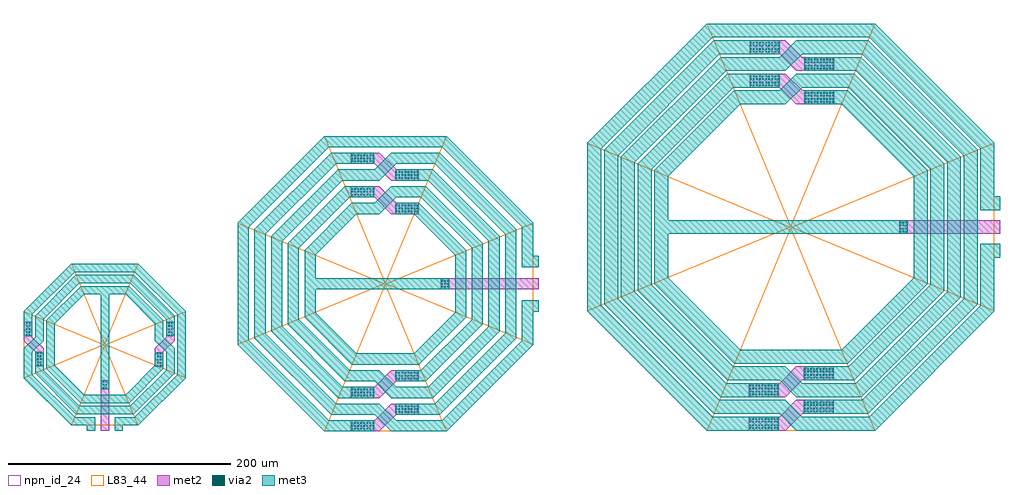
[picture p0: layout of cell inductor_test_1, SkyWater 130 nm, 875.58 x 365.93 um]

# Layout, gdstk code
from math import pi, radians
import gdstk
lib = gdstk.Library(unit=1e-6, precision=1e-09)
def R(c, l, rs):  # rectangles x0, y0, x1, y1
    for r in rs: c.add(gdstk.rectangle(r[:2], r[2:], *l))
def A(c, l, x, y, w, h, nx, ny, dx, dy):  # array of equal rectangles
    R(c, l, [(x+i*dx, y+j*dy, x+i*dx+w, y+j*dy+h) for i in range(nx) for j in range(ny)])
def P(c, l, *ps):  # polygons
    for p in ps: c.add(gdstk.Polygon(p, *l))
met2 = (69, 20)
via2 = (69, 44)
met3 = (70, 20)
npn_id_24 = (82, 24)
L83_44 = (83, 44)

sky130_fd_pr__rf_test_co = lib.new_cell('sky130_fd_pr__rf_test_coil3')
R(sky130_fd_pr__rf_test_co, met2, [(-37.615,-181.335,-10.905,-171.245), (11.56,-166.325,38.27,-156.235), (-37.615,-151.315,-10.905,-141.225), (11.56,-136.305,38.27,-126.215), (97.36,-5.045,104.68,5.045), (12.12,111.205,38.83,121.295), (-37.055,126.215,-10.345,136.305), (12.12,141.225,38.83,151.315), (-37.055,156.235,-10.345,166.325)])
P(sky130_fd_pr__rf_test_co, met2, [(38.375,-155.03),(4.895,-155.03),(-10.115,-170.04),(-37.72,-170.04),(-37.72,-182.54),(-4.935,-182.54),(10.075,-167.53),(38.375,-167.53)],
  [(38.375,-125.01),(4.895,-125.01),(-10.115,-140.02),(-37.72,-140.02),(-37.72,-152.52),(-4.935,-152.52),(10.075,-137.51),(38.375,-137.51)],
  [(38.935,140.02),(4.895,140.02),(-10.115,155.03),(-37.16,155.03),(-37.16,167.53),(-4.935,167.53),(10.075,152.52),(38.935,152.52)],
  [(38.935,110),(4.895,110),(-10.115,125.01),(-37.16,125.01),(-37.16,137.51),(-4.935,137.51),(10.075,122.5),(38.935,122.5)])
A(sky130_fd_pr__rf_test_co, via2, -34.56, -180.895, 1.2, 1.2, 3, 2, 2.77, 2.47)
A(sky130_fd_pr__rf_test_co, via2, -20.71, -180.895, 1.2, 1.2, 3, 2, 2.77, 2.47)
A(sky130_fd_pr__rf_test_co, via2, -34.56, -175.355, 1.2, 1.2, 3, 2, 2.77, 2.47)
A(sky130_fd_pr__rf_test_co, via2, -20.71, -175.355, 1.2, 1.2, 3, 2, 2.77, 2.47)
A(sky130_fd_pr__rf_test_co, via2, 14.625, -165.88, 1.2, 1.2, 3, 2, 2.77, 2.47)
A(sky130_fd_pr__rf_test_co, via2, 28.475, -165.88, 1.2, 1.2, 3, 2, 2.77, 2.47)
A(sky130_fd_pr__rf_test_co, via2, 14.625, -160.34, 1.2, 1.2, 3, 2, 2.77, 2.47)
A(sky130_fd_pr__rf_test_co, via2, 28.475, -160.34, 1.2, 1.2, 3, 2, 2.77, 2.47)
A(sky130_fd_pr__rf_test_co, via2, -34.56, -150.875, 1.2, 1.2, 3, 2, 2.77, 2.47)
A(sky130_fd_pr__rf_test_co, via2, -20.71, -150.875, 1.2, 1.2, 3, 2, 2.77, 2.47)
A(sky130_fd_pr__rf_test_co, via2, -34.56, -145.335, 1.2, 1.2, 3, 2, 2.77, 2.47)
A(sky130_fd_pr__rf_test_co, via2, -20.71, -145.335, 1.2, 1.2, 3, 2, 2.77, 2.47)
A(sky130_fd_pr__rf_test_co, via2, 14.625, -135.87, 1.2, 1.2, 3, 2, 2.77, 2.47)
A(sky130_fd_pr__rf_test_co, via2, 28.475, -135.87, 1.2, 1.2, 3, 2, 2.77, 2.47)
A(sky130_fd_pr__rf_test_co, via2, 14.625, -130.33, 1.2, 1.2, 3, 2, 2.77, 2.47)
A(sky130_fd_pr__rf_test_co, via2, 28.475, -130.33, 1.2, 1.2, 3, 2, 2.77, 2.47)
A(sky130_fd_pr__rf_test_co, via2, 15.18, 111.645, 1.2, 1.2, 3, 2, 2.77, 2.47)
A(sky130_fd_pr__rf_test_co, via2, 29.03, 111.645, 1.2, 1.2, 3, 2, 2.77, 2.47)
A(sky130_fd_pr__rf_test_co, via2, 15.18, 117.185, 1.2, 1.2, 3, 2, 2.77, 2.47)
A(sky130_fd_pr__rf_test_co, via2, 29.03, 117.185, 1.2, 1.2, 3, 2, 2.77, 2.47)
A(sky130_fd_pr__rf_test_co, via2, -33.995, 126.655, 1.2, 1.2, 3, 2, 2.77, 2.47)
A(sky130_fd_pr__rf_test_co, via2, -20.145, 126.655, 1.2, 1.2, 3, 2, 2.77, 2.47)
A(sky130_fd_pr__rf_test_co, via2, -33.995, 132.195, 1.2, 1.2, 3, 2, 2.77, 2.47)
A(sky130_fd_pr__rf_test_co, via2, -20.145, 132.195, 1.2, 1.2, 3, 2, 2.77, 2.47)
A(sky130_fd_pr__rf_test_co, via2, 15.18, 141.665, 1.2, 1.2, 3, 2, 2.77, 2.47)
A(sky130_fd_pr__rf_test_co, via2, 29.03, 141.665, 1.2, 1.2, 3, 2, 2.77, 2.47)
A(sky130_fd_pr__rf_test_co, via2, 15.18, 147.205, 1.2, 1.2, 3, 2, 2.77, 2.47)
A(sky130_fd_pr__rf_test_co, via2, 29.03, 147.205, 1.2, 1.2, 3, 2, 2.77, 2.47)
A(sky130_fd_pr__rf_test_co, via2, -33.995, 156.675, 1.2, 1.2, 3, 2, 2.77, 2.47)
A(sky130_fd_pr__rf_test_co, via2, -20.145, 156.675, 1.2, 1.2, 3, 2, 2.77, 2.47)
A(sky130_fd_pr__rf_test_co, via2, -33.995, 162.215, 1.2, 1.2, 3, 2, 2.77, 2.47)
A(sky130_fd_pr__rf_test_co, via2, -20.145, 162.215, 1.2, 1.2, 3, 2, 2.77, 2.47)
R(sky130_fd_pr__rf_test_co, via2, [(-37.18,-180.895,-35.98,-179.695), (-26.4,-180.895,-25.2,-179.695), (-23.33,-180.895,-22.13,-179.695), (-12.55,-180.895,-11.35,-179.695), (-37.18,-178.425,-35.98,-177.225), (-26.4,-178.425,-25.2,-177.225), (-23.33,-178.425,-22.13,-177.225), (-12.55,-178.425,-11.35,-177.225), (-37.18,-175.355,-35.98,-174.155), (-26.4,-175.355,-25.2,-174.155), (-23.33,-175.355,-22.13,-174.155), (-12.55,-175.355,-11.35,-174.155), (-37.18,-172.885,-35.98,-171.685), (-26.4,-172.885,-25.2,-171.685), (-23.33,-172.885,-22.13,-171.685), (-12.55,-172.885,-11.35,-171.685), (12.005,-165.88,13.205,-164.68), (22.785,-165.88,23.985,-164.68), (25.855,-165.88,27.055,-164.68), (36.635,-165.88,37.835,-164.68), (12.005,-163.41,13.205,-162.21), (22.785,-163.41,23.985,-162.21), (25.855,-163.41,27.055,-162.21), (36.635,-163.41,37.835,-162.21), (12.005,-160.34,13.205,-159.14), (22.785,-160.34,23.985,-159.14), (25.855,-160.34,27.055,-159.14), (36.635,-160.34,37.835,-159.14), (12.005,-157.87,13.205,-156.67), (22.785,-157.87,23.985,-156.67), (25.855,-157.87,27.055,-156.67), (36.635,-157.87,37.835,-156.67), (-37.18,-150.875,-35.98,-149.675), (-26.4,-150.875,-25.2,-149.675), (-23.33,-150.875,-22.13,-149.675), (-12.55,-150.875,-11.35,-149.675), (-37.18,-148.405,-35.98,-147.205), (-26.4,-148.405,-25.2,-147.205), (-23.33,-148.405,-22.13,-147.205), (-12.55,-148.405,-11.35,-147.205), (-37.18,-145.335,-35.98,-144.135), (-26.4,-145.335,-25.2,-144.135), (-23.33,-145.335,-22.13,-144.135), (-12.55,-145.335,-11.35,-144.135), (-37.18,-142.865,-35.98,-141.665), (-26.4,-142.865,-25.2,-141.665), (-23.33,-142.865,-22.13,-141.665), (-12.55,-142.865,-11.35,-141.665), (12.005,-135.87,13.205,-134.67), (22.785,-135.87,23.985,-134.67), (25.855,-135.87,27.055,-134.67), (36.635,-135.87,37.835,-134.67), (12.005,-133.4,13.205,-132.2), (22.785,-133.4,23.985,-132.2), (25.855,-133.4,27.055,-132.2), (36.635,-133.4,37.835,-132.2), (12.005,-130.33,13.205,-129.13), (22.785,-130.33,23.985,-129.13), (25.855,-130.33,27.055,-129.13), (36.635,-130.33,37.835,-129.13), (12.005,-127.86,13.205,-126.66), (22.785,-127.86,23.985,-126.66), (25.855,-127.86,27.055,-126.66), (36.635,-127.86,37.835,-126.66), (97.8,-4.605,99,-3.405), (100.42,-4.605,101.62,-3.405), (103.19,-4.605,104.39,-3.405), (97.8,-2.135,99,-0.935), (100.42,-2.135,101.62,-0.935), (103.19,-2.135,104.39,-0.935), (97.8,0.935,99,2.135), (100.42,0.935,101.62,2.135), (103.19,0.935,104.39,2.135), (97.8,3.405,99,4.605), (100.42,3.405,101.62,4.605), (103.19,3.405,104.39,4.605), (12.56,111.645,13.76,112.845), (23.34,111.645,24.54,112.845), (26.41,111.645,27.61,112.845), (37.19,111.645,38.39,112.845), (12.56,114.115,13.76,115.315), (23.34,114.115,24.54,115.315), (26.41,114.115,27.61,115.315), (37.19,114.115,38.39,115.315), (12.56,117.185,13.76,118.385), (23.34,117.185,24.54,118.385), (26.41,117.185,27.61,118.385), (37.19,117.185,38.39,118.385), (12.56,119.655,13.76,120.855), (23.34,119.655,24.54,120.855), (26.41,119.655,27.61,120.855), (37.19,119.655,38.39,120.855), (-36.615,126.655,-35.415,127.855), (-25.835,126.655,-24.635,127.855), (-22.765,126.655,-21.565,127.855), (-11.985,126.655,-10.785,127.855), (-36.615,129.125,-35.415,130.325), (-25.835,129.125,-24.635,130.325), (-22.765,129.125,-21.565,130.325), (-11.985,129.125,-10.785,130.325), (-36.615,132.195,-35.415,133.395), (-25.835,132.195,-24.635,133.395), (-22.765,132.195,-21.565,133.395), (-11.985,132.195,-10.785,133.395), (-36.615,134.665,-35.415,135.865), (-25.835,134.665,-24.635,135.865), (-22.765,134.665,-21.565,135.865), (-11.985,134.665,-10.785,135.865), (12.56,141.665,13.76,142.865), (23.34,141.665,24.54,142.865), (26.41,141.665,27.61,142.865), (37.19,141.665,38.39,142.865), (12.56,144.135,13.76,145.335), (23.34,144.135,24.54,145.335), (26.41,144.135,27.61,145.335), (37.19,144.135,38.39,145.335), (12.56,147.205,13.76,148.405), (23.34,147.205,24.54,148.405), (26.41,147.205,27.61,148.405), (37.19,147.205,38.39,148.405), (12.56,149.675,13.76,150.875), (23.34,149.675,24.54,150.875), (26.41,149.675,27.61,150.875), (37.19,149.675,38.39,150.875), (-36.615,156.675,-35.415,157.875), (-25.835,156.675,-24.635,157.875), (-22.765,156.675,-21.565,157.875), (-11.985,156.675,-10.785,157.875), (-36.615,159.145,-35.415,160.345), (-25.835,159.145,-24.635,160.345), (-22.765,159.145,-21.565,160.345), (-11.985,159.145,-10.785,160.345), (-36.615,162.215,-35.415,163.415), (-25.835,162.215,-24.635,163.415), (-22.765,162.215,-21.565,163.415), (-11.985,162.215,-10.785,163.415), (-36.615,164.685,-35.415,165.885), (-25.835,164.685,-24.635,165.885), (-22.765,164.685,-21.565,165.885), (-11.985,164.685,-10.785,165.885)])
R(sky130_fd_pr__rf_test_co, met3, [(-37.72,-181.44,-10.8,-171.14), (11.455,-166.43,38.375,-156.13), (-37.72,-151.42,-10.8,-141.12), (11.455,-136.41,38.375,-126.11), (97.255,-5.15,104.785,5.15), (12.015,111.1,38.935,121.4), (-37.16,126.11,-10.24,136.41), (12.015,141.12,38.935,151.42), (-37.16,156.13,-10.24,166.43)])
P(sky130_fd_pr__rf_test_co, met3, [(182.54,75.62),(75.62,182.54),(66.78,173.7),(173.7,66.78)],
  [(75.62,-182.54),(182.54,-75.62),(173.7,-66.78),(66.78,-173.7)],
  [(-182.54,-75.62),(-75.62,-182.54),(-66.78,-173.7),(-173.7,-66.78)],
  [(-75.62,182.54),(-182.54,75.62),(-173.7,66.78),(-66.78,173.7)],
  [(167.53,69.405),(69.405,167.53),(60.565,158.69),(158.69,60.565)],
  [(69.405,-167.53),(167.53,-69.405),(158.69,-60.565),(60.565,-158.69)],
  [(-167.53,-69.405),(-69.405,-167.53),(-60.565,-158.69),(-158.69,-60.565)],
  [(-69.405,167.53),(-167.53,69.405),(-158.69,60.565),(-60.565,158.69)],
  [(75.62,-182.54),(4.935,-182.54),(-10.075,-167.53),(-69.405,-167.53),(-69.405,-155.03),(-4.895,-155.03),(10.115,-170.04),(75.62,-170.04)],
  [(63.185,-152.52),(4.935,-152.52),(-10.075,-137.51),(-56.97,-137.51),(-56.97,-125.01),(-4.895,-125.01),(10.115,-140.02),(63.185,-140.02)],
  [(152.52,63.185),(63.185,152.52),(54.345,143.68),(143.68,54.345)],
  [(63.185,-152.52),(152.52,-63.185),(143.68,-54.345),(54.345,-143.68)],
  [(-152.52,-63.185),(-63.185,-152.52),(-54.345,-143.68),(-143.68,-54.345)],
  [(-63.185,152.52),(-152.52,63.185),(-143.68,54.345),(-54.345,143.68)],
  [(137.51,56.97),(56.97,137.51),(48.13,128.67),(128.67,48.13)],
  [(56.97,-137.51),(137.51,-56.97),(128.67,-48.13),(48.13,-128.67)],
  [(-137.51,-56.97),(-56.97,-137.51),(-48.13,-128.67),(-128.67,-48.13)],
  [(12.015,151.42),(13.115,152.52),(63.185,152.52),(63.185,140.02),(13.115,140.02),(12.015,141.12)],
  [(-56.97,137.51),(-137.51,56.97),(-128.67,48.13),(-48.13,128.67)],
  [(11.455,-136.41),(12.555,-137.51),(56.97,-137.51),(56.97,-125.01),(12.555,-125.01),(11.455,-126.11)],
  [(122.5,50.75),(50.75,122.5),(41.91,113.66),(113.66,41.91)],
  [(50.75,-122.5),(122.5,-50.75),(113.66,-41.91),(41.91,-113.66)],
  [(-122.5,-50.75),(-50.75,-122.5),(-41.91,-113.66),(-113.66,-41.91)],
  [(-50.75,122.5),(-122.5,50.75),(-113.66,41.91),(-41.91,113.66)],
  [(69.405,167.53),(4.935,167.53),(-10.075,152.52),(-63.185,152.52),(-63.185,140.02),(-4.895,140.02),(10.115,155.03),(69.405,155.03)],
  [(56.97,137.51),(4.935,137.51),(-10.075,122.5),(-50.75,122.5),(-50.75,110),(-4.895,110),(10.115,125.01),(56.97,125.01)],
  [(-10.8,-181.44),(-11.9,-182.54),(-75.62,-182.54),(-75.62,-170.04),(-11.9,-170.04),(-10.8,-171.14)],
  [(11.455,-166.43),(12.555,-167.53),(69.405,-167.53),(69.405,-155.03),(12.555,-155.03),(11.455,-156.13)],
  [(12.015,121.4),(13.115,122.5),(50.75,122.5),(50.75,110),(13.115,110),(12.015,111.1)],
  [(-10.24,136.41),(-11.34,137.51),(-56.97,137.51),(-56.97,125.01),(-11.34,125.01),(-10.24,126.11)],
  [(-10.8,-151.42),(-11.9,-152.52),(-63.185,-152.52),(-63.185,-140.02),(-11.9,-140.02),(-10.8,-141.12)],
  [(-10.24,166.43),(-11.34,167.53),(-69.405,167.53),(-69.405,155.03),(-11.34,155.03),(-10.24,156.13)])
P(sky130_fd_pr__rf_test_co, npn_id_24, [(-75.62,182.54),(75.62,182.54),(182.54,75.62),(182.54,-75.62),(75.62,-182.54),(-75.62,-182.54),(-182.54,-75.62),(-182.54,75.62)])
P(sky130_fd_pr__rf_test_co, L83_44, [(75.624,182.54),(-75.624,182.54),(0,0)],
  [(182.54,-75.624),(182.54,75.624),(0,0)],
  [(-75.624,-182.54),(75.624,-182.54),(0,0)],
  [(-182.54,75.624),(-182.54,-75.624),(0,0)])
sky130_fd_pr__rf_test_co.add(gdstk.FlexPath([(187.54,0),(97.04,0)], 12.5, ends="flush", simple_path=True, layer=69, datatype=20))  # met2
sky130_fd_pr__rf_test_co.add(gdstk.FlexPath([(75.62,176.29),(0,176.29)], 12.5, ends="flush", simple_path=True, layer=70, datatype=20))  # met3
sky130_fd_pr__rf_test_co.add(gdstk.FlexPath([(176.29,15),(176.29,75.62)], 12.5, ends="flush", simple_path=True, layer=70, datatype=20))  # met3
sky130_fd_pr__rf_test_co.add(gdstk.FlexPath([(-176.29,75.62),(-176.29,-75.62)], 12.5, ends="flush", simple_path=True, layer=70, datatype=20))  # met3
sky130_fd_pr__rf_test_co.add(gdstk.FlexPath([(0,176.29),(-75.62,176.29)], 12.5, ends="flush", simple_path=True, layer=70, datatype=20))  # met3
sky130_fd_pr__rf_test_co.add(gdstk.FlexPath([(161.28,-69.405),(161.28,69.405)], 12.5, ends="flush", simple_path=True, layer=70, datatype=20))  # met3
sky130_fd_pr__rf_test_co.add(gdstk.FlexPath([(-161.28,69.405),(-161.28,-69.405)], 12.5, ends="flush", simple_path=True, layer=70, datatype=20))  # met3
sky130_fd_pr__rf_test_co.add(gdstk.FlexPath([(146.27,-63.185),(146.27,63.185)], 12.5, ends="flush", simple_path=True, layer=70, datatype=20))  # met3
sky130_fd_pr__rf_test_co.add(gdstk.FlexPath([(-146.27,63.185),(-146.27,-63.185)], 12.5, ends="flush", simple_path=True, layer=70, datatype=20))  # met3
sky130_fd_pr__rf_test_co.add(gdstk.FlexPath([(131.26,-56.97),(131.26,56.97)], 12.5, ends="flush", simple_path=True, layer=70, datatype=20))  # met3
sky130_fd_pr__rf_test_co.add(gdstk.FlexPath([(-131.26,56.97),(-131.26,-56.97)], 12.5, ends="flush", simple_path=True, layer=70, datatype=20))  # met3
sky130_fd_pr__rf_test_co.add(gdstk.FlexPath([(116.25,-50.75),(116.25,50.75)], 12.5, ends="flush", simple_path=True, layer=70, datatype=20))  # met3
sky130_fd_pr__rf_test_co.add(gdstk.FlexPath([(-50.75,-116.25),(50.75,-116.25)], 12.5, ends="flush", simple_path=True, layer=70, datatype=20))  # met3
sky130_fd_pr__rf_test_co.add(gdstk.FlexPath([(-116.25,50.75),(-116.25,-50.75)], 12.5, ends="flush", simple_path=True, layer=70, datatype=20))  # met3
sky130_fd_pr__rf_test_co.add(gdstk.FlexPath([(-122.5,0),(105,0)], 12.5, ends="flush", simple_path=True, layer=70, datatype=20))  # met3
sky130_fd_pr__rf_test_co.add(gdstk.FlexPath([(170.04,21.25),(187.54,21.25)], 12.5, ends="flush", simple_path=True, layer=70, datatype=20))  # met3
sky130_fd_pr__rf_test_co.add(gdstk.FlexPath([(170.04,-21.25),(187.54,-21.25)], 12.5, ends="flush", simple_path=True, layer=70, datatype=20))  # met3
sky130_fd_pr__rf_test_co.add(gdstk.FlexPath([(176.29,-75.62),(176.29,-15)], 12.5, ends="flush", simple_path=True, layer=70, datatype=20))  # met3

c_sky130_fd_pr__rf_test_co = lib.new_cell('sky130_fd_pr__rf_test_coil2')
R(c_sky130_fd_pr__rf_test_co, met2, [(-31.05,-131.16,-9.88,-123.84), (8.765,-116.16,29.935,-108.84), (-31.05,-101.16,-9.88,-93.84), (8.765,-86.16,29.935,-78.84), (49.86,-3.66,57.18,3.66), (8.765,63.84,29.935,71.16), (-31.05,78.84,-9.88,86.16), (8.765,93.84,29.935,101.16), (-31.05,108.84,-9.88,116.16)])
P(c_sky130_fd_pr__rf_test_co, met2, [(30.04,-77.5),(5.425,-77.5),(-9.575,-92.5),(-31.155,-92.5),(-31.155,-102.5),(-5.425,-102.5),(9.575,-87.5),(30.04,-87.5)],
  [(30.04,-107.5),(5.425,-107.5),(-9.575,-122.5),(-31.155,-122.5),(-31.155,-132.5),(-5.425,-132.5),(9.575,-117.5),(30.04,-117.5)],
  [(30.04,92.5),(5.425,92.5),(-9.575,107.5),(-31.155,107.5),(-31.155,117.5),(-5.425,117.5),(9.575,102.5),(30.04,102.5)],
  [(30.04,62.5),(5.425,62.5),(-9.575,77.5),(-31.155,77.5),(-31.155,87.5),(-5.425,87.5),(9.575,72.5),(30.04,72.5)])
A(c_sky130_fd_pr__rf_test_co, via2, -30.61, -130.72, 1.2, 1.2, 1, 3, 0, 2.62)
A(c_sky130_fd_pr__rf_test_co, via2, -27.99, -130.72, 1.2, 1.2, 6, 3, 2.77, 2.62)
A(c_sky130_fd_pr__rf_test_co, via2, -11.52, -130.72, 1.2, 1.2, 1, 3, 0, 2.62)
A(c_sky130_fd_pr__rf_test_co, via2, 9.205, -115.72, 1.2, 1.2, 1, 3, 0, 2.62)
A(c_sky130_fd_pr__rf_test_co, via2, 11.825, -115.72, 1.2, 1.2, 6, 3, 2.77, 2.62)
A(c_sky130_fd_pr__rf_test_co, via2, 28.295, -115.72, 1.2, 1.2, 1, 3, 0, 2.62)
A(c_sky130_fd_pr__rf_test_co, via2, -30.61, -100.72, 1.2, 1.2, 1, 3, 0, 2.62)
A(c_sky130_fd_pr__rf_test_co, via2, -27.99, -100.72, 1.2, 1.2, 6, 3, 2.77, 2.62)
A(c_sky130_fd_pr__rf_test_co, via2, -11.52, -100.72, 1.2, 1.2, 1, 3, 0, 2.62)
A(c_sky130_fd_pr__rf_test_co, via2, 9.2, -85.725, 1.2, 1.2, 1, 3, 0, 2.62)
A(c_sky130_fd_pr__rf_test_co, via2, 11.82, -85.725, 1.2, 1.2, 6, 3, 2.77, 2.62)
A(c_sky130_fd_pr__rf_test_co, via2, 28.29, -85.725, 1.2, 1.2, 1, 3, 0, 2.62)
A(c_sky130_fd_pr__rf_test_co, via2, 50.3, -3.22, 1.2, 1.2, 1, 3, 0, 2.62)
A(c_sky130_fd_pr__rf_test_co, via2, 52.92, -3.22, 1.2, 1.2, 1, 3, 0, 2.62)
A(c_sky130_fd_pr__rf_test_co, via2, 55.69, -3.22, 1.2, 1.2, 1, 3, 0, 2.62)
A(c_sky130_fd_pr__rf_test_co, via2, 9.205, 64.285, 1.2, 1.2, 1, 3, 0, 2.62)
A(c_sky130_fd_pr__rf_test_co, via2, 11.825, 64.285, 1.2, 1.2, 6, 3, 2.77, 2.62)
A(c_sky130_fd_pr__rf_test_co, via2, 28.295, 64.285, 1.2, 1.2, 1, 3, 0, 2.62)
A(c_sky130_fd_pr__rf_test_co, via2, -30.615, 79.285, 1.2, 1.2, 1, 3, 0, 2.62)
A(c_sky130_fd_pr__rf_test_co, via2, -27.995, 79.285, 1.2, 1.2, 6, 3, 2.77, 2.62)
A(c_sky130_fd_pr__rf_test_co, via2, -11.525, 79.285, 1.2, 1.2, 1, 3, 0, 2.62)
A(c_sky130_fd_pr__rf_test_co, via2, 9.205, 94.275, 1.2, 1.2, 1, 3, 0, 2.62)
A(c_sky130_fd_pr__rf_test_co, via2, 11.825, 94.275, 1.2, 1.2, 6, 3, 2.77, 2.62)
A(c_sky130_fd_pr__rf_test_co, via2, 28.295, 94.275, 1.2, 1.2, 1, 3, 0, 2.62)
A(c_sky130_fd_pr__rf_test_co, via2, -30.61, 109.28, 1.2, 1.2, 1, 3, 0, 2.62)
A(c_sky130_fd_pr__rf_test_co, via2, -27.99, 109.28, 1.2, 1.2, 6, 3, 2.77, 2.62)
A(c_sky130_fd_pr__rf_test_co, via2, -11.52, 109.28, 1.2, 1.2, 1, 3, 0, 2.62)
R(c_sky130_fd_pr__rf_test_co, met3, [(-31.155,-131.265,-9.775,-123.735), (8.66,-116.265,30.04,-108.735), (-31.155,-101.265,-9.775,-93.735), (8.66,-86.265,30.04,-78.735), (49.755,-3.765,57.285,3.765), (8.66,63.735,30.04,71.265), (-31.155,78.735,-9.775,86.265), (8.66,93.735,30.04,101.265), (-31.155,108.735,-9.775,116.265)])
P(c_sky130_fd_pr__rf_test_co, met3, [(132.5,54.89),(54.89,132.5),(47.82,125.43),(125.43,47.82)],
  [(54.89,-132.5),(132.5,-54.89),(125.43,-47.82),(47.82,-125.43)],
  [(-132.5,-54.89),(-54.89,-132.5),(-47.82,-125.43),(-125.43,-47.82)],
  [(-54.89,132.5),(-132.5,54.89),(-125.43,47.82),(-47.82,125.43)],
  [(117.5,48.68),(48.68,117.5),(41.61,110.43),(110.43,41.61)],
  [(48.68,-117.5),(117.5,-48.68),(110.43,-41.61),(41.61,-110.43)],
  [(-117.5,-48.68),(-48.68,-117.5),(-41.61,-110.43),(-110.43,-41.61)],
  [(8.66,-86.265),(9.895,-87.5),(36.255,-87.5),(36.255,-77.5),(9.895,-77.5),(8.66,-78.735)],
  [(-48.68,117.5),(-117.5,48.68),(-110.43,41.61),(-41.61,110.43)],
  [(42.465,-102.5),(5.425,-102.5),(-9.575,-87.5),(-36.255,-87.5),(-36.255,-77.5),(-5.425,-77.5),(9.575,-92.5),(42.465,-92.5)],
  [(54.89,-132.5),(5.425,-132.5),(-9.575,-117.5),(-48.68,-117.5),(-48.68,-107.5),(-5.425,-107.5),(9.575,-122.5),(54.89,-122.5)],
  [(102.5,42.465),(42.465,102.5),(35.395,95.43),(95.43,35.395)],
  [(42.465,-102.5),(102.5,-42.465),(95.43,-35.395),(35.395,-95.43)],
  [(-102.5,-42.465),(-42.465,-102.5),(-35.395,-95.43),(-95.43,-35.395)],
  [(-9.775,116.265),(-11.01,117.5),(-48.68,117.5),(-48.68,107.5),(-11.01,107.5),(-9.775,108.735)],
  [(-42.465,102.5),(-102.5,42.465),(-95.43,35.395),(-35.395,95.43)],
  [(48.68,117.5),(5.425,117.5),(-9.575,102.5),(-42.465,102.5),(-42.465,92.5),(-5.425,92.5),(9.575,107.5),(48.68,107.5)],
  [(87.5,36.255),(36.255,87.5),(29.185,80.43),(80.43,29.185)],
  [(36.255,-87.5),(87.5,-36.255),(80.43,-29.185),(29.185,-80.43)],
  [(-87.5,-36.255),(-36.255,-87.5),(-29.185,-80.43),(-80.43,-29.185)],
  [(-9.775,86.265),(-11.01,87.5),(-36.255,87.5),(-36.255,77.5),(-11.01,77.5),(-9.775,78.735)],
  [(-36.255,87.5),(-87.5,36.255),(-80.43,29.185),(-29.185,80.43)],
  [(8.66,71.265),(9.895,72.5),(30.04,72.5),(30.04,62.5),(9.895,62.5),(8.66,63.735)],
  [(72.5,30.04),(30.04,72.5),(22.97,65.43),(65.43,22.97)],
  [(30.04,-72.5),(72.5,-30.04),(65.43,-22.97),(22.97,-65.43)],
  [(-72.5,-30.04),(-30.04,-72.5),(-22.97,-65.43),(-65.43,-22.97)],
  [(-30.04,72.5),(-72.5,30.04),(-65.43,22.97),(-22.97,65.43)],
  [(36.255,87.5),(5.425,87.5),(-9.575,72.5),(-30.04,72.5),(-30.04,62.5),(-5.425,62.5),(9.575,77.5),(36.255,77.5)],
  [(8.66,101.265),(9.895,102.5),(42.465,102.5),(42.465,92.5),(9.895,92.5),(8.66,93.735)],
  [(-9.775,-101.265),(-11.01,-102.5),(-42.465,-102.5),(-42.465,-92.5),(-11.01,-92.5),(-9.775,-93.735)],
  [(8.66,-116.265),(9.895,-117.5),(48.68,-117.5),(48.68,-107.5),(9.895,-107.5),(8.66,-108.735)],
  [(-9.775,-131.265),(-11.01,-132.5),(-54.89,-132.5),(-54.89,-122.5),(-11.01,-122.5),(-9.775,-123.735)])
P(c_sky130_fd_pr__rf_test_co, npn_id_24, [(-54.89,132.5),(54.89,132.5),(132.5,54.89),(132.5,-54.89),(54.89,-132.5),(-54.89,-132.5),(-132.5,-54.89),(-132.5,54.89)])
P(c_sky130_fd_pr__rf_test_co, L83_44, [(54.893,132.5),(-54.893,132.5),(0,0)],
  [(132.5,-54.893),(132.5,54.893),(0,0)],
  [(-54.893,-132.5),(54.893,-132.5),(0,0)],
  [(-132.5,54.893),(-132.5,-54.893),(0,0)])
c_sky130_fd_pr__rf_test_co.add(gdstk.FlexPath([(137.5,0),(49.54,0)], 10, ends="flush", simple_path=True, layer=69, datatype=20))  # met2
c_sky130_fd_pr__rf_test_co.add(gdstk.FlexPath([(54.89,127.5),(0,127.5)], 10, ends="flush", simple_path=True, layer=70, datatype=20))  # met3
c_sky130_fd_pr__rf_test_co.add(gdstk.FlexPath([(-127.5,54.89),(-127.5,-54.89)], 10, ends="flush", simple_path=True, layer=70, datatype=20))  # met3
c_sky130_fd_pr__rf_test_co.add(gdstk.FlexPath([(0,127.5),(-54.89,127.5)], 10, ends="flush", simple_path=True, layer=70, datatype=20))  # met3
c_sky130_fd_pr__rf_test_co.add(gdstk.FlexPath([(112.5,-48.68),(112.5,48.68)], 10, ends="flush", simple_path=True, layer=70, datatype=20))  # met3
c_sky130_fd_pr__rf_test_co.add(gdstk.FlexPath([(-112.5,48.68),(-112.5,-48.68)], 10, ends="flush", simple_path=True, layer=70, datatype=20))  # met3
c_sky130_fd_pr__rf_test_co.add(gdstk.FlexPath([(97.5,-42.465),(97.5,42.465)], 10, ends="flush", simple_path=True, layer=70, datatype=20))  # met3
c_sky130_fd_pr__rf_test_co.add(gdstk.FlexPath([(-97.5,42.465),(-97.5,-42.465)], 10, ends="flush", simple_path=True, layer=70, datatype=20))  # met3
c_sky130_fd_pr__rf_test_co.add(gdstk.FlexPath([(82.5,-36.255),(82.5,36.255)], 10, ends="flush", simple_path=True, layer=70, datatype=20))  # met3
c_sky130_fd_pr__rf_test_co.add(gdstk.FlexPath([(-82.5,36.255),(-82.5,-36.255)], 10, ends="flush", simple_path=True, layer=70, datatype=20))  # met3
c_sky130_fd_pr__rf_test_co.add(gdstk.FlexPath([(67.5,-30.04),(67.5,30.04)], 10, ends="flush", simple_path=True, layer=70, datatype=20))  # met3
c_sky130_fd_pr__rf_test_co.add(gdstk.FlexPath([(-30.04,-67.5),(30.04,-67.5)], 10, ends="flush", simple_path=True, layer=70, datatype=20))  # met3
c_sky130_fd_pr__rf_test_co.add(gdstk.FlexPath([(-67.5,30.04),(-67.5,-30.04)], 10, ends="flush", simple_path=True, layer=70, datatype=20))  # met3
c_sky130_fd_pr__rf_test_co.add(gdstk.FlexPath([(-72.5,0),(57.5,0)], 10, ends="flush", simple_path=True, layer=70, datatype=20))  # met3
c_sky130_fd_pr__rf_test_co.add(gdstk.FlexPath([(122.5,20),(137.5,20)], 10, ends="flush", simple_path=True, layer=70, datatype=20))  # met3
c_sky130_fd_pr__rf_test_co.add(gdstk.FlexPath([(122.5,-20),(137.5,-20)], 10, ends="flush", simple_path=True, layer=70, datatype=20))  # met3
c_sky130_fd_pr__rf_test_co.add(gdstk.FlexPath([(127.5,15),(127.5,54.89)], 10, ends="flush", simple_path=True, layer=70, datatype=20))  # met3
c_sky130_fd_pr__rf_test_co.add(gdstk.FlexPath([(127.5,-54.89),(127.5,-15)], 10, ends="flush", simple_path=True, layer=70, datatype=20))  # met3

c_sky130_fd_pr__rf_test_co_ = lib.new_cell('sky130_fd_pr__rf_test_coil1')
R(c_sky130_fd_pr__rf_test_co_, met2, [(-20.52,-71.035,-7.66,-66.485), (6.65,-61.035,19.51,-56.485), (32.36,-2.275,39.68,2.275), (7.155,46.47,20.015,51.02), (-20.23,56.485,-7.37,61.035)])
P(c_sky130_fd_pr__rf_test_co_, met2, [(19.625,-55.01),(3.455,-55.01),(-6.555,-65.02),(-20.615,-65.02),(-20.615,-72.52),(-3.445,-72.52),(6.565,-62.51),(19.625,-62.51)],
  [(-7.325,61.14),(-8.695,62.51),(-20.395,62.51),(-20.395,55.01),(-8.695,55.01),(-7.325,56.38)],
  [(20.12,45),(3.455,45),(-6.555,55.01),(-20.395,55.01),(-20.395,62.51),(-3.445,62.51),(6.565,52.5),(20.12,52.5)])
A(c_sky130_fd_pr__rf_test_co_, via2, -17.46, -70.595, 1.2, 1.2, 3, 2, 2.77, 2.47)
A(c_sky130_fd_pr__rf_test_co_, via2, 9.71, -60.595, 1.2, 1.2, 3, 2, 2.77, 2.47)
A(c_sky130_fd_pr__rf_test_co_, via2, 10.215, 46.91, 1.2, 1.2, 3, 2, 2.77, 2.47)
A(c_sky130_fd_pr__rf_test_co_, via2, -17.17, 56.925, 1.2, 1.2, 3, 2, 2.77, 2.47)
R(c_sky130_fd_pr__rf_test_co_, via2, [(-20.08,-70.595,-18.88,-69.395), (-9.3,-70.595,-8.1,-69.395), (-20.08,-68.125,-18.88,-66.925), (-9.3,-68.125,-8.1,-66.925), (7.09,-60.595,8.29,-59.395), (17.87,-60.595,19.07,-59.395), (7.09,-58.125,8.29,-56.925), (17.87,-58.125,19.07,-56.925), (32.8,-1.835,34,-0.635), (35.42,-1.835,36.62,-0.635), (38.19,-1.835,39.39,-0.635), (32.8,0.635,34,1.835), (35.42,0.635,36.62,1.835), (38.19,0.635,39.39,1.835), (7.595,46.91,8.795,48.11), (18.375,46.91,19.575,48.11), (7.595,49.38,8.795,50.58), (18.375,49.38,19.575,50.58), (-19.79,56.925,-18.59,58.125), (-9.01,56.925,-7.81,58.125), (-19.79,59.395,-18.59,60.595), (-9.01,59.395,-7.81,60.595)])
R(c_sky130_fd_pr__rf_test_co_, met3, [(-20.615,-71.15,-7.545,-66.39), (6.555,-61.14,19.625,-56.38), (32.255,-2.38,39.785,2.38), (7.05,46.37,20.12,51.13), (-20.335,56.38,-7.265,61.14)])
P(c_sky130_fd_pr__rf_test_co_, met3, [(72.52,30.045),(30.045,72.52),(24.74,67.215),(67.215,24.74)],
  [(30.045,-72.52),(3.445,-72.52),(-6.565,-62.51),(-25.9,-62.51),(-25.9,-55.02),(-3.445,-55.02),(6.555,-65.02),(30.045,-65.02)],
  [(30.045,-72.52),(72.52,-30.045),(67.215,-24.74),(24.74,-67.215)],
  [(-72.52,-30.045),(-30.045,-72.52),(-24.74,-67.215),(-67.215,-24.74)],
  [(-30.045,72.52),(-72.52,30.045),(-67.215,24.74),(-24.74,67.215)],
  [(25.9,62.51),(3.445,62.51),(-6.565,52.5),(-21.755,52.5),(-21.755,45),(-3.455,45),(6.555,55.01),(25.9,55.01)],
  [(62.51,25.9),(25.9,62.51),(20.595,57.205),(57.205,20.595)],
  [(25.9,-62.51),(62.51,-25.9),(57.205,-20.595),(20.595,-57.205)],
  [(-62.51,-25.9),(-25.9,-62.51),(-20.595,-57.205),(-57.205,-20.595)],
  [(-25.9,62.51),(-62.51,25.9),(-57.205,20.595),(-20.595,57.205)],
  [(52.5,21.755),(21.755,52.5),(16.45,47.195),(47.195,16.45)],
  [(21.755,-52.5),(52.5,-21.755),(47.195,-16.45),(16.45,-47.195)],
  [(-52.5,-21.755),(-21.755,-52.5),(-16.45,-47.195),(-47.195,-16.45)],
  [(-21.755,52.5),(-52.5,21.755),(-47.195,16.45),(-16.45,47.195)],
  [(-7.325,61.14),(-8.695,62.51),(-25.9,62.51),(-25.9,55.01),(-8.695,55.01),(-7.325,56.38)],
  [(-7.545,-66.39),(-8.915,-65.02),(-30.045,-65.02),(-30.045,-72.52),(-8.915,-72.52),(-7.545,-71.15)],
  [(25.9,-55.01),(7.925,-55.01),(6.555,-56.38),(6.555,-61.14),(7.925,-62.51),(25.9,-62.51)],
  [(21.755,52.5),(8.42,52.5),(7.05,51.13),(7.05,46.37),(8.42,45),(21.755,45)])
P(c_sky130_fd_pr__rf_test_co_, npn_id_24, [(-30.045,72.52),(30.045,72.52),(72.52,30.045),(72.52,-30.045),(30.045,-72.52),(-30.045,-72.52),(-72.52,-30.045),(-72.52,30.045)])
P(c_sky130_fd_pr__rf_test_co_, L83_44, [(72.52,-30.044),(72.52,30.044),(0,0)],
  [(-72.52,30.044),(-72.52,-30.044),(0,0)],
  [(-30.044,-72.52),(30.044,-72.52),(0,0)],
  [(30.044,72.52),(-30.044,72.52),(0,0)])
c_sky130_fd_pr__rf_test_co_.add(gdstk.FlexPath([(77.5,0),(32.04,0)], 7.5, ends="flush", simple_path=True, layer=69, datatype=20))  # met2
c_sky130_fd_pr__rf_test_co_.add(gdstk.FlexPath([(30.045,68.77),(0,68.77)], 7.5, ends="flush", simple_path=True, layer=70, datatype=20))  # met3
c_sky130_fd_pr__rf_test_co_.add(gdstk.FlexPath([(68.77,8.75),(68.77,30.045)], 7.5, ends="flush", simple_path=True, layer=70, datatype=20))  # met3
c_sky130_fd_pr__rf_test_co_.add(gdstk.FlexPath([(-68.77,30.045),(-68.77,-30.045)], 7.5, ends="flush", simple_path=True, layer=70, datatype=20))  # met3
c_sky130_fd_pr__rf_test_co_.add(gdstk.FlexPath([(0,68.77),(-30.045,68.77)], 7.5, ends="flush", simple_path=True, layer=70, datatype=20))  # met3
c_sky130_fd_pr__rf_test_co_.add(gdstk.FlexPath([(58.76,-25.9),(58.76,25.9)], 7.5, ends="flush", simple_path=True, layer=70, datatype=20))  # met3
c_sky130_fd_pr__rf_test_co_.add(gdstk.FlexPath([(65.02,-12.5),(77.5,-12.5)], 7.5, ends="flush", simple_path=True, layer=70, datatype=20))  # met3
c_sky130_fd_pr__rf_test_co_.add(gdstk.FlexPath([(-58.76,25.9),(-58.76,-25.9)], 7.5, ends="flush", simple_path=True, layer=70, datatype=20))  # met3
c_sky130_fd_pr__rf_test_co_.add(gdstk.FlexPath([(48.75,-21.755),(48.75,21.755)], 7.5, ends="flush", simple_path=True, layer=70, datatype=20))  # met3
c_sky130_fd_pr__rf_test_co_.add(gdstk.FlexPath([(-21.755,-48.75),(21.755,-48.75)], 7.5, ends="flush", simple_path=True, layer=70, datatype=20))  # met3
c_sky130_fd_pr__rf_test_co_.add(gdstk.FlexPath([(65.02,12.5),(77.5,12.5)], 7.5, ends="flush", simple_path=True, layer=70, datatype=20))  # met3
c_sky130_fd_pr__rf_test_co_.add(gdstk.FlexPath([(-52.5,0),(40,0)], 7.5, ends="flush", simple_path=True, layer=70, datatype=20))  # met3
c_sky130_fd_pr__rf_test_co_.add(gdstk.FlexPath([(-48.75,21.755),(-48.75,-21.755)], 7.5, ends="flush", simple_path=True, layer=70, datatype=20))  # met3
c_sky130_fd_pr__rf_test_co_.add(gdstk.FlexPath([(68.77,-30.045),(68.77,-8.75)], 7.5, ends="flush", simple_path=True, layer=70, datatype=20))  # met3

inductor_test_1 = lib.new_cell('inductor_test_1')
inductor_test_1.add(gdstk.Reference(sky130_fd_pr__rf_test_co, (688.04,182.89)))
inductor_test_1.add(gdstk.Reference(c_sky130_fd_pr__rf_test_co, (324.2,132)))
inductor_test_1.add(gdstk.Reference(c_sky130_fd_pr__rf_test_co_, (72.52,77.45), rotation=3*pi/2))

lib.write_gds('inductor_test_1.gds')
